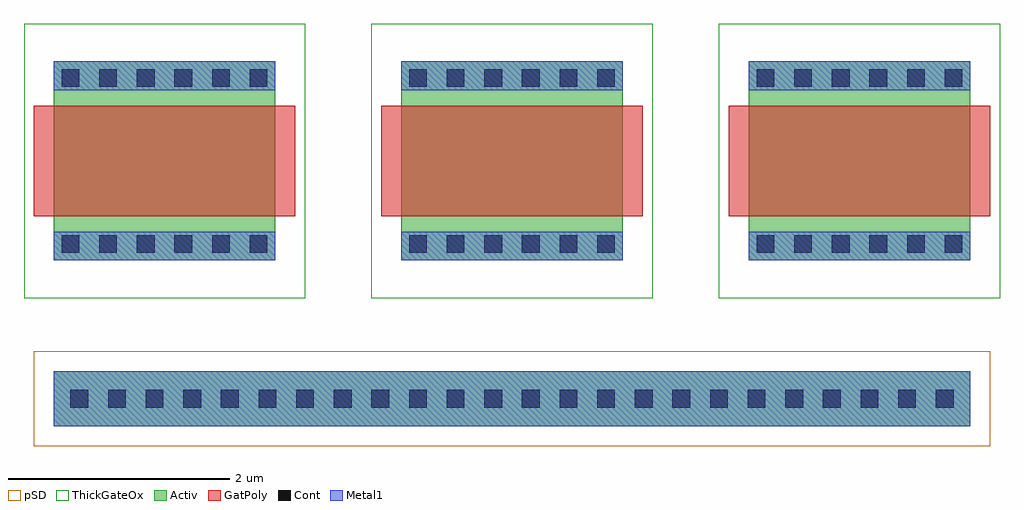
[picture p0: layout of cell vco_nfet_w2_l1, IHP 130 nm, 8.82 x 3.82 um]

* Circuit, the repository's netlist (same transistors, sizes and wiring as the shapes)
* extracted by klt extract --deck sg13cmos5l

* cell vco_nfet_w2_l1
* pin vsubs
.SUBCKT vco_nfet_w2_l1 vsubs
* device instance $1 r0 *1 1.89,3.36 nfet
X$1 \$4 \$1 \$5 vsubs sg13_hv_nmos L=1U W=2U AS=0.8P AD=0.8P PS=4.8U PD=4.8U
* device instance $2 r0 *1 5.03,3.36 nfet
X$2 \$6 \$2 \$7 vsubs sg13_hv_nmos L=1U W=2U AS=0.8P AD=0.8P PS=4.8U PD=4.8U
* device instance $3 r0 *1 8.17,3.36 nfet
X$3 \$8 \$3 \$9 vsubs sg13_hv_nmos L=1U W=2U AS=0.8P AD=0.8P PS=4.8U PD=4.8U
.ENDS vco_nfet_w2_l1

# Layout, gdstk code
import gdstk
lib = gdstk.Library(unit=1e-6, precision=1e-09)
def R(c, l, rs):  # rectangles x0, y0, x1, y1
    for r in rs: c.add(gdstk.rectangle(r[:2], r[2:], *l))
def A(c, l, x, y, w, h, nx, ny, dx, dy):  # array of equal rectangles
    R(c, l, [(x+i*dx, y+j*dy, x+i*dx+w, y+j*dy+h) for i in range(nx) for j in range(ny)])
Activ = (1, 0)
GatPoly = (5, 0)
Cont = (6, 0)
Metal1 = (8, 0)
pSD = (14, 0)
ThickGateOx = (44, 0)

vco_nfet_w2_l1 = lib.new_cell('vco_nfet_w2_l1')
A(vco_nfet_w2_l1, Activ, 0.89, 2.46, 2, 1.8, 3, 1, 3.14, 0)
R(vco_nfet_w2_l1, Activ, [(0.89,0.96,9.17,1.46)])
A(vco_nfet_w2_l1, GatPoly, 0.71, 2.86, 2.36, 1, 3, 1, 3.14, 0)
A(vco_nfet_w2_l1, Cont, 1.04, 1.13, 0.16, 0.16, 24, 1, 0.34, 0)
A(vco_nfet_w2_l1, Cont, 0.96, 2.53, 0.16, 0.16, 6, 2, 0.34, 1.5)
A(vco_nfet_w2_l1, Cont, 4.1, 2.53, 0.16, 0.16, 6, 2, 0.34, 1.5)
A(vco_nfet_w2_l1, Cont, 7.24, 2.53, 0.16, 0.16, 6, 2, 0.34, 1.5)
A(vco_nfet_w2_l1, Metal1, 0.89, 2.46, 2, 0.26, 3, 2, 3.14, 1.54)
R(vco_nfet_w2_l1, Metal1, [(0.89,0.96,9.17,1.46)])
R(vco_nfet_w2_l1, pSD, [(0.71,0.78,9.35,1.64)])
A(vco_nfet_w2_l1, ThickGateOx, 0.62, 2.12, 2.54, 2.48, 3, 1, 3.14, 0)

lib.write_gds('vco_nfet_w2_l1.gds')
